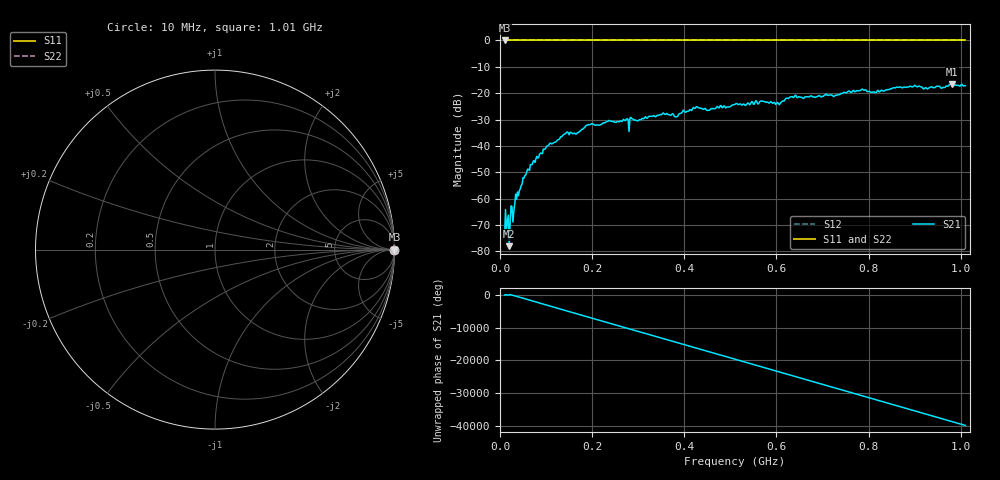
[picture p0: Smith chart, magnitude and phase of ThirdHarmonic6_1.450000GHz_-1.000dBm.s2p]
! 8/16/2025 4:48:47 PM
! C:\ANRITSUVNA\TEMP\TEMP.S2P
! CHANNEL.1
! TR.MEASUREMENT
! RAW.DATA
! RF.CORRECTION.OFF
! AVERAGING.OFF
! IF.BANDWIDTH: 5KHZ
! SWEEPTYPE:  FREQ.SWEEP(Linear)
! Reference Plane Port Info
! PORT:  PORT1  PORT2
! DISTANCE:  0  m  0  m
! TIME:  0  s  0  s
! PHASE.OFFSET:  0  deg.  0  deg.
! LOSS:  0  dB  0  dB
! REF.LOSS:  0  dB  0  dB
! REF.FREQ:  0  Hz  0  Hz
! Power Info
! POWER:  -20  dBm  -20  dBm
! EFF.POWER:  -20  dBm  -20  dBm
! SOURCE.ATTEN:  0  dB  0  dB
! TEST.ATTEN:  0  dB  0  dB
# GHZ S RI R 50.0
! FREQ.GHZ  S11RE  S11IM  S21RE  S21IM  S12RE  S12IM  S22RE  S22IM
!; PortSelection: Port_12
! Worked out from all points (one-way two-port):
!   501 points, 10 MHz to 1.01 GHz, reference 50 ohm
!   highest |S21| = -16.46 dB at 980 MHz (marker M1); lowest = -78.0 dB at 20 MHz (marker M2)
!   lowest |S11| = 0.0 dB at 10 MHz (marker M3)
!   |S11| at or under -10 dB: nowhere
!   |S22| runs from 0.0 to 0.0 dB; largest |S21 - S12| = 1.1
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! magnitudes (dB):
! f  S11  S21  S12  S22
! 10 MHz  0.0  -74.0  0.0  0.0
! 14 MHz  0.0  -71.3  0.0  0.0
! 18 MHz  0.0  -66.2  0.0  0.0
! 20 MHz  0.0  -78.0  0.0  0.0
! 24 MHz  0.0  -62.7  0.0  0.0
! 38 MHz  0.0  -57.5  0.0  0.0
! 70 MHz  0.0  -47.0  0.0  0.0
! 106 MHz  0.0  -39.7  0.0  0.0
! 142 MHz  0.0  -35.3  0.0  0.0
! 178 MHz  0.0  -33.6  0.0  0.0
! 196 MHz  0.0  -31.9  0.0  0.0
! 344 MHz  0.0  -28.5  0.0  0.0
! 382 MHz  0.0  -29.0  0.0  0.0
! 424 MHz  0.0  -25.7  0.0  0.0
! 452 MHz  0.0  -26.5  0.0  0.0
! 510 MHz  0.0  -24.3  0.0  0.0
! 602 MHz  0.0  -23.5  0.0  0.0
! 638 MHz  0.0  -21.5  0.0  0.0
! 678 MHz  0.0  -21.4  0.0  0.0
! 844 MHz  0.0  -18.6  0.0  0.0
! 980 MHz  0.0  -16.5  0.0  0.0
! 1.01 GHz  0.0  -17.1  0.0  0.0
